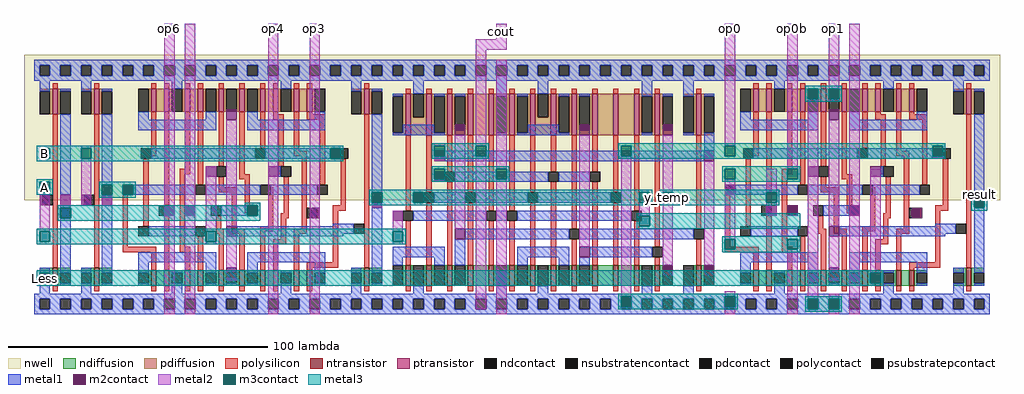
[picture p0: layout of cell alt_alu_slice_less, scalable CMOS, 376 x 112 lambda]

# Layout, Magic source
magic
tech scmos
<< m2contact >>
rect 6 12 10 16
<< metal2 >>
rect 22 64 26 65
rect 6 32 10 47
rect 14 41 18 46
rect 22 42 26 60
rect 30 42 34 46
rect 14 36 18 37
rect 54 0 58 112
rect 62 0 66 112
rect 70 32 74 57
rect 70 27 74 28
rect 94 0 98 112
rect 110 0 114 112
rect 182 106 186 112
rect 174 102 186 106
rect 158 65 162 66
rect 158 59 162 61
rect 174 65 178 102
rect 158 51 162 52
rect 134 47 138 48
rect 134 41 138 43
rect 142 32 146 40
rect 142 27 146 28
rect 174 2 178 61
rect 182 56 186 98
rect 270 65 274 112
rect 182 0 186 52
rect 230 7 234 61
rect 294 56 298 112
rect 310 87 314 112
rect 237 38 241 43
rect 270 29 274 52
rect 286 47 290 56
rect 286 38 290 43
rect 230 2 234 3
rect 270 7 274 9
rect 270 0 274 3
rect 294 0 298 25
rect 302 6 306 83
rect 310 82 314 83
rect 310 6 314 8
rect 310 0 314 2
rect 318 0 322 112
rect 350 60 354 61
rect 326 16 330 56
<< m3contact >>
rect 6 60 10 64
rect 22 60 26 64
rect 6 47 10 51
rect 30 46 34 50
rect 38 46 42 50
rect 14 37 18 41
rect 6 28 10 32
rect 6 12 10 16
rect 86 38 90 42
rect 70 28 74 32
rect 118 60 122 64
rect 158 61 162 65
rect 174 61 178 65
rect 158 52 162 56
rect 134 43 138 47
rect 150 43 154 47
rect 142 28 146 32
rect 182 52 186 56
rect 230 61 234 65
rect 270 61 274 65
rect 270 52 274 56
rect 237 43 241 47
rect 246 43 250 47
rect 237 34 241 38
rect 294 52 298 56
rect 302 83 306 87
rect 286 43 290 47
rect 270 25 274 29
rect 294 25 298 29
rect 230 3 234 7
rect 270 3 274 7
rect 310 83 314 87
rect 302 2 306 6
rect 310 2 314 6
rect 350 61 354 65
rect 366 41 370 45
rect 326 12 330 16
<< metal3 >>
rect 301 87 315 88
rect 301 83 302 87
rect 306 83 310 87
rect 314 83 315 87
rect 301 82 315 83
rect 157 65 179 66
rect 5 64 123 65
rect 5 60 6 64
rect 10 60 22 64
rect 26 60 118 64
rect 122 60 123 64
rect 157 61 158 65
rect 162 61 174 65
rect 178 61 179 65
rect 157 60 179 61
rect 229 65 355 66
rect 229 61 230 65
rect 234 61 270 65
rect 274 61 350 65
rect 354 61 355 65
rect 229 60 355 61
rect 5 59 123 60
rect 157 56 187 57
rect 157 52 158 56
rect 162 52 182 56
rect 186 52 187 56
rect 5 51 11 52
rect 157 51 187 52
rect 269 56 299 57
rect 269 52 270 56
rect 274 52 294 56
rect 298 52 299 56
rect 269 51 299 52
rect 5 47 6 51
rect 10 47 11 51
rect 5 46 11 47
rect 29 50 43 51
rect 29 46 30 50
rect 34 46 38 50
rect 42 46 43 50
rect 29 45 43 46
rect 133 47 242 48
rect 133 43 134 47
rect 138 43 150 47
rect 154 43 237 47
rect 241 43 242 47
rect 85 42 91 43
rect 133 42 242 43
rect 245 47 291 48
rect 245 43 246 47
rect 250 43 286 47
rect 290 43 291 47
rect 245 42 291 43
rect 365 45 371 46
rect 13 41 86 42
rect 13 37 14 41
rect 18 38 86 41
rect 90 38 91 42
rect 365 41 366 45
rect 370 41 371 45
rect 365 40 371 41
rect 18 37 91 38
rect 13 36 91 37
rect 236 38 299 39
rect 236 34 237 38
rect 241 34 299 38
rect 236 33 299 34
rect 5 32 147 33
rect 5 28 6 32
rect 10 28 70 32
rect 74 28 142 32
rect 146 28 147 32
rect 5 27 147 28
rect 269 29 299 30
rect 269 25 270 29
rect 274 25 294 29
rect 298 25 299 29
rect 269 24 299 25
rect 5 16 331 17
rect 5 12 6 16
rect 10 12 326 16
rect 330 12 331 16
rect 5 11 331 12
rect 229 7 275 8
rect 229 3 230 7
rect 234 3 270 7
rect 274 3 275 7
rect 229 2 275 3
rect 301 6 315 7
rect 301 2 302 6
rect 306 2 310 6
rect 314 2 315 6
rect 301 1 315 2
use inv_1x  inv_1x_0
transform 1 0 6 0 1 4
box -6 -4 18 96
use inv_1x  inv_1x_1
transform 1 0 22 0 1 4
box -6 -4 18 96
use mux4_dp_1x  mux4_dp_1x_0
transform 1 0 38 0 1 4
box -6 -4 106 96
use fulladder  fulladder_0
transform 1 0 144 0 1 4
box -8 -4 128 96
use mux4_dp_1x  mux4_dp_1x_1
transform 1 0 270 0 1 4
box -6 -4 106 96
<< labels >>
rlabel m3contact 8 62 8 62 1 B
rlabel m3contact 8 49 8 49 1 A
rlabel m3contact 8 14 8 14 1 Less
rlabel metal2 56 110 56 110 5 op6
rlabel metal2 64 110 64 110 5 op5
rlabel metal2 96 110 96 110 5 op4
rlabel metal2 112 110 112 110 5 op3
rlabel metal2 272 110 272 110 5 op0
rlabel metal2 296 110 296 110 5 op0b
rlabel metal2 312 110 312 110 5 op1
rlabel metal2 320 110 320 110 5 op1b
rlabel m3contact 248 45 248 45 1 y_temp
rlabel metal2 184 109 184 109 5 cout
rlabel metal3 368 46 368 46 1 result
<< end >>

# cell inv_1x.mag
magic
tech scmos
<< nwell >>
rect -6 40 18 96
<< ntransistor >>
rect 5 7 7 14
<< ptransistor >>
rect 5 73 7 83
<< ndiffusion >>
rect 0 12 5 14
rect 4 8 5 12
rect 0 7 5 8
rect 7 12 12 14
rect 7 8 8 12
rect 7 7 12 8
<< pdiffusion >>
rect 0 82 5 83
rect 4 73 5 82
rect 7 82 12 83
rect 7 73 8 82
<< ndcontact >>
rect 0 8 4 12
rect 8 8 12 12
<< pdcontact >>
rect 0 73 4 82
rect 8 73 12 82
<< psubstratepcontact >>
rect 0 -2 4 2
rect 8 -2 12 2
<< nsubstratencontact >>
rect 0 88 4 92
rect 8 88 12 92
<< polysilicon >>
rect 5 83 7 85
rect 5 14 7 73
rect 5 5 7 7
<< polycontact >>
rect 1 38 5 42
<< metal1 >>
rect -2 92 14 94
rect -2 88 0 92
rect 4 88 8 92
rect 12 88 14 92
rect -2 86 14 88
rect 0 82 4 86
rect 8 82 12 83
rect 8 42 12 73
rect 0 12 4 14
rect 0 4 4 8
rect 8 12 12 38
rect 8 7 12 8
rect -2 2 14 4
rect -2 -2 0 2
rect 4 -2 8 2
rect 12 -2 14 2
rect -2 -4 14 -2
<< m2contact >>
rect 0 38 1 42
rect 1 38 4 42
rect 8 38 12 42
<< labels >>
rlabel m2contact 1 40 1 40 1 a
rlabel m2contact 10 40 10 40 1 y
rlabel metal1 -1 0 -1 0 3 Gnd!
rlabel metal1 -1 90 -1 90 3 Vdd!
<< end >>

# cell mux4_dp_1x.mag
magic
tech scmos
<< nwell >>
rect -6 40 106 96
<< ntransistor >>
rect 11 7 13 13
rect 16 7 18 13
rect 24 7 26 13
rect 29 7 31 13
rect 37 7 39 13
rect 45 7 47 13
rect 53 7 55 13
rect 58 7 60 13
rect 66 7 68 13
rect 71 7 73 13
rect 93 7 95 14
<< ptransistor >>
rect 11 74 13 83
rect 16 74 18 83
rect 24 74 26 83
rect 29 74 31 83
rect 37 74 39 83
rect 45 74 47 83
rect 53 74 55 83
rect 58 74 60 83
rect 66 74 68 83
rect 71 74 73 83
rect 93 73 95 83
<< ndiffusion >>
rect 6 12 11 13
rect 10 8 11 12
rect 6 7 11 8
rect 13 7 16 13
rect 18 12 24 13
rect 18 8 19 12
rect 23 8 24 12
rect 18 7 24 8
rect 26 7 29 13
rect 31 12 37 13
rect 31 8 32 12
rect 36 8 37 12
rect 31 7 37 8
rect 39 12 45 13
rect 39 8 40 12
rect 44 8 45 12
rect 39 7 45 8
rect 47 12 53 13
rect 47 8 48 12
rect 52 8 53 12
rect 47 7 53 8
rect 55 7 58 13
rect 60 12 66 13
rect 60 8 61 12
rect 65 8 66 12
rect 60 7 66 8
rect 68 7 71 13
rect 73 12 78 13
rect 73 8 74 12
rect 73 7 78 8
rect 88 12 93 14
rect 92 8 93 12
rect 88 7 93 8
rect 95 12 100 14
rect 95 8 96 12
rect 95 7 100 8
<< pdiffusion >>
rect 10 74 11 83
rect 13 74 16 83
rect 18 74 19 83
rect 23 74 24 83
rect 26 74 29 83
rect 31 74 32 83
rect 36 74 37 83
rect 39 74 40 83
rect 44 74 45 83
rect 47 74 48 83
rect 52 74 53 83
rect 55 74 58 83
rect 60 74 61 83
rect 65 74 66 83
rect 68 74 71 83
rect 73 74 74 83
rect 88 82 93 83
rect 92 73 93 82
rect 95 82 100 83
rect 95 73 96 82
<< ndcontact >>
rect 6 8 10 12
rect 19 8 23 12
rect 32 8 36 12
rect 40 8 44 12
rect 48 8 52 12
rect 61 8 65 12
rect 74 8 78 12
rect 88 8 92 12
rect 96 8 100 12
<< pdcontact >>
rect 6 74 10 83
rect 19 74 23 83
rect 32 74 36 83
rect 40 74 44 83
rect 48 74 52 83
rect 61 74 65 83
rect 74 74 78 83
rect 88 73 92 82
rect 96 73 100 82
<< psubstratepcontact >>
rect 0 -2 4 2
rect 8 -2 12 2
rect 16 -2 20 2
rect 24 -2 28 2
rect 32 -2 36 2
rect 40 -2 44 2
rect 48 -2 52 2
rect 56 -2 60 2
rect 64 -2 68 2
rect 72 -2 76 2
rect 80 -2 84 2
rect 88 -2 92 2
rect 96 -2 100 2
<< nsubstratencontact >>
rect 0 88 4 92
rect 8 88 12 92
rect 16 88 20 92
rect 24 88 28 92
rect 32 88 36 92
rect 40 88 44 92
rect 48 88 52 92
rect 56 88 60 92
rect 64 88 68 92
rect 72 88 76 92
rect 80 88 84 92
rect 88 88 92 92
rect 96 88 100 92
<< polysilicon >>
rect 11 83 13 85
rect 16 83 18 85
rect 24 83 26 85
rect 29 83 31 85
rect 37 83 39 85
rect 45 83 47 85
rect 53 83 55 85
rect 58 83 60 85
rect 66 83 68 85
rect 71 83 73 85
rect 93 83 95 85
rect 11 57 13 74
rect 0 22 2 42
rect 8 30 10 56
rect 16 38 18 74
rect 24 52 26 74
rect 0 20 13 22
rect 11 13 13 20
rect 16 13 18 34
rect 22 50 26 52
rect 22 22 24 50
rect 29 46 31 74
rect 37 53 39 74
rect 45 50 47 74
rect 53 60 55 74
rect 58 73 60 74
rect 58 71 62 73
rect 60 53 62 71
rect 66 59 68 74
rect 71 73 73 74
rect 71 71 78 73
rect 66 57 71 59
rect 60 50 61 53
rect 37 45 39 49
rect 45 48 49 50
rect 37 43 44 45
rect 36 29 38 34
rect 42 29 44 43
rect 47 38 49 48
rect 57 42 58 45
rect 47 35 48 38
rect 56 30 58 42
rect 62 35 64 49
rect 36 27 39 29
rect 42 27 47 29
rect 22 20 26 22
rect 24 13 26 20
rect 29 13 31 26
rect 37 13 39 27
rect 45 13 47 27
rect 53 28 58 30
rect 61 33 64 35
rect 53 13 55 28
rect 61 25 63 33
rect 69 29 71 57
rect 76 46 78 71
rect 84 38 86 56
rect 75 33 76 37
rect 81 36 86 38
rect 58 23 63 25
rect 66 27 71 29
rect 58 13 60 23
rect 66 13 68 27
rect 81 16 83 36
rect 71 14 83 16
rect 93 14 95 73
rect 71 13 73 14
rect 11 5 13 7
rect 16 5 18 7
rect 24 5 26 7
rect 29 5 31 7
rect 37 5 39 7
rect 45 5 47 7
rect 53 5 55 7
rect 58 5 60 7
rect 66 5 68 7
rect 71 5 73 7
rect 93 5 95 7
<< polycontact >>
rect 7 56 11 60
rect 0 42 4 46
rect 14 34 18 38
rect 6 26 10 30
rect 36 49 40 53
rect 51 56 55 60
rect 28 42 32 46
rect 61 49 65 53
rect 24 34 28 38
rect 34 34 38 38
rect 28 26 32 30
rect 53 42 57 46
rect 48 34 52 38
rect 83 56 87 60
rect 75 42 79 46
rect 71 33 75 37
rect 89 27 93 31
<< metal1 >>
rect -2 92 102 94
rect -2 88 0 92
rect 4 88 8 92
rect 12 88 16 92
rect 20 88 24 92
rect 28 88 32 92
rect 36 88 40 92
rect 44 88 48 92
rect 52 88 56 92
rect 60 88 64 92
rect 68 88 72 92
rect 76 88 80 92
rect 84 88 88 92
rect 92 88 96 92
rect 100 88 102 92
rect -2 86 102 88
rect 19 83 23 86
rect 61 83 65 86
rect 6 71 10 74
rect 32 71 36 74
rect 48 71 52 74
rect 74 71 78 74
rect 88 82 92 86
rect 96 82 100 83
rect 6 67 36 71
rect 48 67 78 71
rect 11 56 51 60
rect 55 56 80 60
rect 60 49 61 53
rect 4 42 28 46
rect 32 42 53 46
rect 57 42 75 46
rect 96 41 100 73
rect 38 34 48 38
rect 81 30 89 31
rect 10 26 28 30
rect 44 27 89 30
rect 44 26 85 27
rect 6 16 36 20
rect 6 12 10 16
rect 6 7 10 8
rect 19 12 23 13
rect 19 4 23 8
rect 32 12 36 16
rect 48 16 78 20
rect 32 7 36 8
rect 40 7 44 8
rect 48 12 52 16
rect 48 7 52 8
rect 61 12 65 13
rect 61 4 65 8
rect 74 12 78 16
rect 74 7 78 8
rect 88 12 92 14
rect 88 4 92 8
rect 96 12 100 37
rect 96 7 100 8
rect -2 2 102 4
rect -2 -2 0 2
rect 4 -2 8 2
rect 12 -2 16 2
rect 20 -2 24 2
rect 28 -2 32 2
rect 36 -2 40 2
rect 44 -2 48 2
rect 52 -2 56 2
rect 60 -2 64 2
rect 68 -2 72 2
rect 76 -2 80 2
rect 84 -2 88 2
rect 92 -2 96 2
rect 100 -2 102 2
rect -2 -4 102 -2
<< m2contact >>
rect 40 74 44 75
rect 40 71 44 74
rect 80 56 83 60
rect 83 56 84 60
rect 32 49 36 53
rect 56 49 60 53
rect 0 42 4 46
rect 16 34 18 38
rect 18 34 20 38
rect 24 34 28 38
rect 48 34 52 38
rect 96 37 100 41
rect 72 33 75 37
rect 75 33 76 37
rect 40 26 44 30
rect 40 12 44 14
rect 40 10 44 12
<< metal2 >>
rect 40 30 44 71
rect 40 14 44 26
rect 40 9 44 10
<< labels >>
rlabel metal1 -1 0 -1 0 3 Gnd!
rlabel m2contact 2 44 2 44 1 s0b
rlabel m2contact 18 36 18 36 1 d0
rlabel m2contact 26 36 26 36 1 d1
rlabel m2contact 34 51 34 51 1 s1
rlabel metal1 -1 90 -1 90 3 Vdd!
rlabel m2contact 58 51 58 51 1 d2
rlabel m2contact 82 58 82 58 1 s0
rlabel m2contact 98 39 98 39 1 y
rlabel m2contact 74 35 74 35 1 d3
rlabel m2contact 50 36 50 36 1 s1b
<< end >>

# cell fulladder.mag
magic
tech scmos
<< nwell >>
rect -8 40 128 96
<< ntransistor >>
rect 3 7 5 15
rect 11 7 13 15
rect 19 7 21 15
rect 27 7 29 15
rect 35 7 37 15
rect 43 7 45 15
rect 51 7 53 15
rect 59 7 61 15
rect 67 7 69 15
rect 75 7 77 15
rect 83 7 85 15
rect 91 7 93 15
rect 99 7 101 15
rect 115 7 117 15
<< ptransistor >>
rect 3 65 5 81
rect 11 65 13 81
rect 19 65 21 81
rect 27 65 29 81
rect 35 65 37 81
rect 43 65 45 81
rect 51 65 53 81
rect 59 65 61 81
rect 67 65 69 81
rect 75 65 77 81
rect 83 65 85 81
rect 91 65 93 81
rect 99 65 101 81
rect 115 65 117 81
<< ndiffusion >>
rect 2 7 3 15
rect 5 7 6 15
rect 10 7 11 15
rect 13 7 14 15
rect 18 7 19 15
rect 21 7 22 15
rect 26 7 27 15
rect 29 7 35 15
rect 37 7 38 15
rect 42 7 43 15
rect 45 7 46 15
rect 50 7 51 15
rect 53 7 54 15
rect 58 7 59 15
rect 61 7 62 15
rect 66 7 67 15
rect 69 7 70 15
rect 74 7 75 15
rect 77 7 83 15
rect 85 7 91 15
rect 93 7 94 15
rect 98 7 99 15
rect 101 7 102 15
rect 114 7 115 15
rect 117 7 118 15
<< pdiffusion >>
rect -2 80 3 81
rect 2 66 3 80
rect -2 65 3 66
rect 5 72 6 81
rect 10 72 11 81
rect 5 65 11 72
rect 13 80 19 81
rect 13 66 14 80
rect 18 66 19 80
rect 13 65 19 66
rect 21 80 27 81
rect 21 67 22 80
rect 26 67 27 80
rect 21 65 27 67
rect 29 65 35 81
rect 37 80 43 81
rect 37 66 38 80
rect 42 66 43 80
rect 37 65 43 66
rect 45 80 51 81
rect 45 66 46 80
rect 50 66 51 80
rect 45 65 51 66
rect 53 72 54 81
rect 58 72 59 81
rect 53 65 59 72
rect 61 80 67 81
rect 61 66 62 80
rect 66 66 67 80
rect 61 65 67 66
rect 69 80 75 81
rect 69 67 70 80
rect 74 67 75 80
rect 69 65 75 67
rect 77 65 83 81
rect 85 65 91 81
rect 93 80 99 81
rect 93 66 94 80
rect 98 66 99 80
rect 93 65 99 66
rect 101 80 106 81
rect 101 67 102 80
rect 101 65 106 67
rect 110 80 115 81
rect 114 66 115 80
rect 110 65 115 66
rect 117 80 122 81
rect 117 66 118 80
rect 117 65 122 66
<< ndcontact >>
rect -2 7 2 15
rect 6 7 10 15
rect 14 7 18 15
rect 22 7 26 15
rect 38 7 42 15
rect 46 7 50 15
rect 54 7 58 15
rect 62 7 66 15
rect 70 7 74 15
rect 94 7 98 15
rect 102 7 106 15
rect 110 7 114 15
rect 118 7 122 15
<< pdcontact >>
rect -2 66 2 80
rect 6 72 10 81
rect 14 66 18 80
rect 22 67 26 80
rect 38 66 42 80
rect 46 66 50 80
rect 54 72 58 81
rect 62 66 66 80
rect 70 67 74 80
rect 94 66 98 80
rect 102 67 106 80
rect 110 66 114 80
rect 118 66 122 80
<< psubstratepcontact >>
rect -2 -2 2 2
rect 6 -2 10 2
rect 14 -2 18 2
rect 22 -2 26 2
rect 30 -2 34 2
rect 38 -2 42 2
rect 46 -2 50 2
rect 54 -2 58 2
rect 62 -2 66 2
rect 70 -2 74 2
rect 78 -2 82 2
rect 86 -2 90 2
rect 94 -2 98 2
rect 102 -2 106 2
rect 110 -2 114 2
rect 118 -2 122 2
<< nsubstratencontact >>
rect -2 88 2 92
rect 6 88 10 92
rect 14 88 18 92
rect 22 88 26 92
rect 30 88 34 92
rect 38 88 42 92
rect 46 88 50 92
rect 54 88 58 92
rect 62 88 66 92
rect 70 88 74 92
rect 78 88 82 92
rect 86 88 90 92
rect 94 88 98 92
rect 102 88 106 92
rect 110 88 114 92
rect 118 88 122 92
<< polysilicon >>
rect 3 81 5 83
rect 11 81 13 83
rect 19 81 21 83
rect 27 81 29 83
rect 35 81 37 83
rect 43 81 45 83
rect 51 81 53 83
rect 59 81 61 83
rect 67 81 69 83
rect 75 81 77 83
rect 83 81 85 83
rect 91 81 93 83
rect 99 81 101 83
rect 115 81 117 83
rect 3 36 5 65
rect 11 43 13 65
rect 19 51 21 65
rect 3 15 5 32
rect 11 15 13 39
rect 19 15 21 47
rect 27 43 29 65
rect 27 15 29 39
rect 35 36 37 65
rect 43 36 45 65
rect 51 43 53 65
rect 59 51 61 65
rect 35 15 37 32
rect 43 15 45 32
rect 51 15 53 39
rect 59 15 61 47
rect 67 29 69 65
rect 75 51 77 65
rect 67 15 69 25
rect 75 15 77 47
rect 83 43 85 65
rect 83 15 85 39
rect 91 36 93 65
rect 91 15 93 32
rect 99 22 101 65
rect 115 29 117 65
rect 99 15 101 18
rect 115 15 117 25
rect 3 5 5 7
rect 11 5 13 7
rect 19 5 21 7
rect 27 5 29 7
rect 35 5 37 7
rect 43 5 45 7
rect 51 5 53 7
rect 59 5 61 7
rect 67 5 69 7
rect 75 5 77 7
rect 83 5 85 7
rect 91 5 93 7
rect 99 5 101 7
rect 115 5 117 7
<< polycontact >>
rect 18 47 22 51
rect 10 39 14 43
rect 2 32 6 36
rect 26 39 30 43
rect 58 47 62 51
rect 50 39 54 43
rect 34 32 38 36
rect 42 32 46 36
rect 74 47 78 51
rect 66 25 70 29
rect 82 39 86 43
rect 90 32 94 36
rect 114 25 118 29
rect 98 18 102 22
<< metal1 >>
rect -4 92 124 94
rect -4 88 -2 92
rect 2 88 6 92
rect 10 88 14 92
rect 18 88 22 92
rect 26 88 30 92
rect 34 88 38 92
rect 42 88 46 92
rect 50 88 54 92
rect 58 88 62 92
rect 66 88 70 92
rect 74 88 78 92
rect 82 88 86 92
rect 90 88 94 92
rect 98 88 102 92
rect 106 88 110 92
rect 114 88 118 92
rect 122 88 124 92
rect -4 86 124 88
rect 6 81 10 86
rect -2 80 2 81
rect 14 80 18 81
rect 2 66 14 69
rect -2 65 18 66
rect 22 80 26 81
rect 38 80 42 86
rect 54 81 58 86
rect 38 65 42 66
rect 46 80 50 81
rect 62 80 66 81
rect 50 66 62 69
rect 46 65 66 66
rect 70 80 74 81
rect 94 80 98 86
rect 94 65 98 66
rect 102 80 106 81
rect 110 80 114 86
rect 110 65 114 66
rect 118 80 122 81
rect 118 59 122 66
rect 18 55 118 59
rect 22 47 58 51
rect 62 47 74 51
rect 14 39 26 43
rect 30 39 50 43
rect 54 39 82 43
rect 6 32 34 36
rect 38 32 42 36
rect 46 32 90 36
rect 26 25 66 29
rect 70 25 114 29
rect -2 18 18 22
rect -2 15 2 18
rect 14 15 18 18
rect 22 15 26 25
rect 46 18 66 22
rect 46 15 50 18
rect 62 15 66 18
rect 74 18 98 22
rect 70 15 74 18
rect 6 4 10 7
rect 38 4 42 7
rect 54 4 58 7
rect 94 4 98 7
rect 110 4 114 7
rect -4 2 124 4
rect -4 -2 -2 2
rect 2 -2 6 2
rect 10 -2 14 2
rect 18 -2 22 2
rect 26 -2 30 2
rect 34 -2 38 2
rect 42 -2 46 2
rect 50 -2 54 2
rect 58 -2 62 2
rect 66 -2 70 2
rect 74 -2 78 2
rect 82 -2 86 2
rect 90 -2 94 2
rect 98 -2 102 2
rect 106 -2 110 2
rect 114 -2 118 2
rect 122 -2 124 2
rect -4 -4 124 -2
<< m2contact >>
rect 22 67 26 69
rect 22 65 26 67
rect 70 67 74 69
rect 70 65 74 67
rect 102 67 106 69
rect 102 65 106 67
rect 14 55 18 59
rect 118 55 122 59
rect 14 47 18 51
rect 6 39 10 43
rect -2 32 2 36
rect 22 25 26 29
rect 70 18 74 22
rect 102 11 106 15
rect 118 11 122 15
<< metal2 >>
rect 22 29 26 65
rect 70 22 74 65
rect 102 15 106 65
rect 118 15 122 55
<< labels >>
rlabel m2contact 0 34 0 34 1 a
rlabel m2contact 8 41 8 41 1 b
rlabel m2contact 16 49 16 49 1 c
rlabel m2contact 16 57 16 57 1 cout
rlabel m2contact 104 13 104 13 1 s
rlabel metal1 4 89 4 89 1 Vdd!
rlabel metal1 4 -1 4 -1 1 Gnd!
<< end >>
